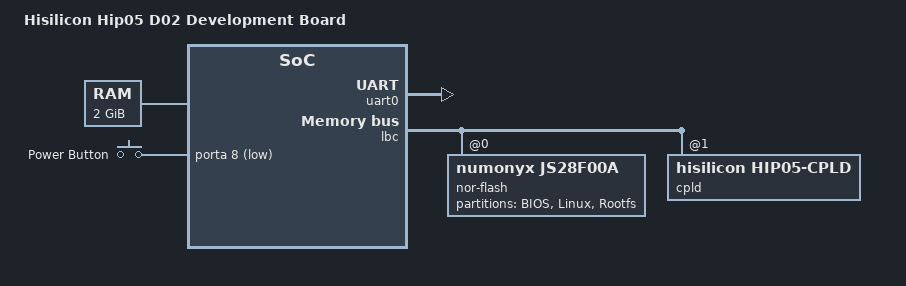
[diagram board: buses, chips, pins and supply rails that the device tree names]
/**
 * dts file for Hisilicon D02 Development Board
 *
 * Copyright (C) 2014,2015 Hisilicon Ltd.
 *
 * This program is free software; you can redistribute it and/or modify
 * it under the terms of the GNU General Public License version 2 as
 * publishhed by the Free Software Foundation.
 *
 */

/dts-v1/;

#include <dt-bindings/gpio/gpio.h>
#include "hip05.dtsi"

/ {
	model = "Hisilicon Hip05 D02 Development Board";
	compatible = "hisilicon,hip05-d02";

	memory@0 {
		device_type = "memory";
		reg = <0x0 0x00000000 0x0 0x80000000>;
	};

	aliases {
		serial0 = &uart0;
	};

	chosen {
		stdout-path = "serial0:115200n8";
	};

	gpio_keys {
		compatible = "gpio-keys";
		#address-cells = <1>;
		#size-cells = <0>;

		pwrbutton {
			label = "Power Button";
			gpios = <&porta 8 GPIO_ACTIVE_LOW>;
			linux,code = <116>;
			debounce-interval = <0>;
		};
	};
};

&uart0 {
	status = "ok";
};

&peri_gpio0 {
	status = "ok";
};

&lbc {
	status = "ok";
	#address-cells = <2>;
	#size-cells = <1>;
	ranges = <0 0 0x0 0x90000000 0x08000000>,
		 <1 0 0x0 0x98000000 0x08000000>;

	nor-flash@0,0 {
		#address-cells = <1>;
		#size-cells = <1>;
		compatible = "numonyx,js28f00a", "cfi-flash";
		reg = <0 0x0 0x08000000>;
		bank-width = <2>;
		/* The three parts may not used */
		partition@0 {
			label = "BIOS";
			reg = <0x0 0x300000>;
		};
		partition@300000 {
			label = "Linux";
			reg = <0x300000 0xa00000>;
		};
		partition@1000000 {
			label = "Rootfs";
			reg = <0x01000000 0x02000000>;
		};
	};

	cpld@1,0 {
		compatible = "hisilicon,hip05-cpld";
		reg = <1 0x0 0x100>;
	};
};
